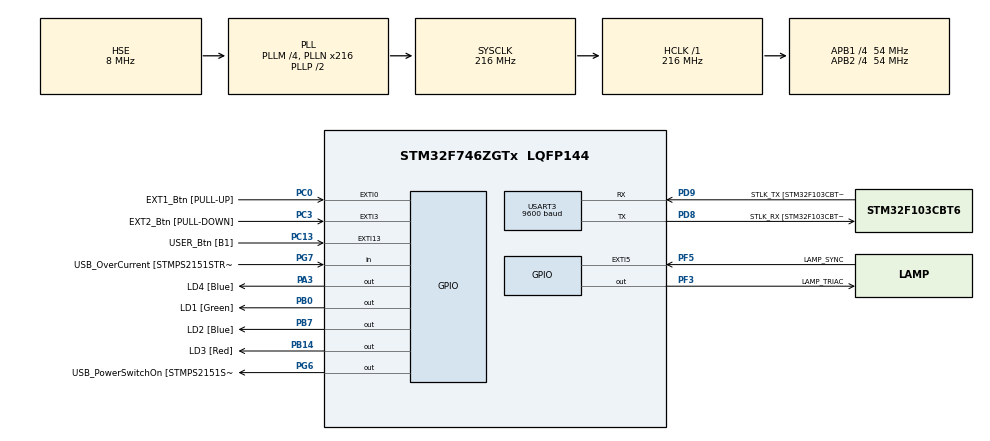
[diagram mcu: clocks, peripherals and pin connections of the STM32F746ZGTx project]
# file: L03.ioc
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Mcu.Family=STM32F7
Mcu.Name=STM32F746ZGTx
Mcu.Package=LQFP144
NVIC.EXTI0_IRQn=true\:0\:0\:false\:false\:true\:true\:true\:true
NVIC.EXTI15_10_IRQn=true\:0\:0\:false\:false\:true\:true\:true\:true
NVIC.EXTI3_IRQn=true\:0\:0\:false\:false\:true\:true\:true\:true
NVIC.EXTI9_5_IRQn=true\:0\:0\:false\:false\:true\:true\:true\:true
NVIC.PriorityGroup=NVIC_PRIORITYGROUP_4
NVIC.TIM2_IRQn=true\:0\:0\:false\:false\:true\:true\:true\:true
NVIC.USART3_IRQn=true\:0\:0\:false\:false\:true\:true\:true\:true
PA1.GPIO_Label=RMII_REF_CLK [LAN8742A-CZ-TR_REFCLK0]
PA1.Signal=ETH_REF_CLK
PA10.GPIO_Label=USB_ID
PA10.Signal=USB_OTG_FS_ID
PA11.GPIO_Label=USB_DM
PA11.Signal=USB_OTG_FS_DM
PA12.GPIO_Label=USB_DP
PA12.Signal=USB_OTG_FS_DP
PA13.GPIO_Label=TMS
PA13.Mode=Serial_Wire
PA13.Signal=SYS_JTMS-SWDIO
PA14.GPIO_Label=TCK
PA14.Mode=Serial_Wire
PA14.Signal=SYS_JTCK-SWCLK
PA2.GPIO_Label=RMII_MDIO [LAN8742A-CZ-TR_MDIO]
PA2.Signal=ETH_MDIO
PA3.GPIO_Label=LD4 [Blue]
PA3.GPIO_PuPd=GPIO_PULLDOWN
PA3.Signal=GPIO_Output
PA7.GPIO_Label=RMII_CRS_DV [LAN8742A-CZ-TR_CRS_DV]
PA7.Signal=ETH_CRS_DV
PA8.GPIO_Label=USB_SOF [TP1]
PA8.Signal=USB_OTG_FS_SOF
PA9.GPIO_Label=USB_VBUS
PA9.Signal=USB_OTG_FS_VBUS
PB0.GPIO_Label=LD1 [Green]
PB0.Signal=GPIO_Output
PB13.GPIO_Label=RMII_TXD1 [LAN8742A-CZ-TR_TXD1]
PB13.Signal=ETH_TXD1
PB14.GPIO_Label=LD3 [Red]
PB14.Signal=GPIO_Output
PB3.GPIO_Label=SW0
PB3.Signal=SYS_JTDO-SWO
PB7.GPIO_Label=LD2 [Blue]
PB7.Signal=GPIO_Output
PC0.GPIO_Label=EXT1_Btn [PULL-UP]
PC0.GPIO_ModeDefaultEXTI=GPIO_MODE_IT_FALLING
PC0.GPIO_PuPd=GPIO_PULLUP
PC0.Signal=GPXTI0
PC1.GPIO_Label=RMII_MDC [LAN8742A-CZ-TR_MDC]
PC1.Signal=ETH_MDC
PC13.GPIO_Label=USER_Btn [B1]
PC13.GPIO_ModeDefaultEXTI=GPIO_MODE_IT_RISING
PC13.Signal=GPXTI13
PC14/OSC32_IN.Mode=LSE-External-Oscillator
PC14/OSC32_IN.Signal=RCC_OSC32_IN
PC15/OSC32_OUT.Mode=LSE-External-Oscillator
PC15/OSC32_OUT.Signal=RCC_OSC32_OUT
PC3.GPIO_Label=EXT2_Btn [PULL-DOWN]
PC3.GPIO_PuPd=GPIO_PULLDOWN
PC3.Signal=GPXTI3
PC4.GPIO_Label=RMII_RXD0 [LAN8742A-CZ-TR_RXD0]
PC4.Signal=ETH_RXD0
PC5.GPIO_Label=RMII_RXD1 [LAN8742A-CZ-TR_RXD1]
PC5.Signal=ETH_RXD1
PD8.GPIO_Label=STLK_RX [STM32F103CBT6_PA3]
PD8.Mode=Asynchronous
PD8.Signal=USART3_TX
PD9.GPIO_Label=STLK_TX [STM32F103CBT6_PA2]
PD9.Mode=Asynchronous
PD9.Signal=USART3_RX
PF3.GPIO_Label=LAMP_TRIAC
PF3.GPIO_Speed=GPIO_SPEED_FREQ_HIGH
PF3.Signal=GPIO_Output
PF5.GPIO_Label=LAMP_SYNC
PF5.Signal=GPXTI5
PG11.GPIO_Label=RMII_TX_EN [LAN8742A-CZ-TR_TXEN]
PG11.Signal=ETH_TX_EN
PG13.GPIO_Label=RMII_TXD0 [LAN8742A-CZ-TR_TXD0]
PG13.Signal=ETH_TXD0
PG6.GPIO_Label=USB_PowerSwitchOn [STMPS2151STR_EN]
PG6.Signal=GPIO_Output
PG7.GPIO_Label=USB_OverCurrent [STMPS2151STR_FAULT]
PG7.Signal=GPIO_Input
PH0/OSC_IN.GPIO_Label=MCO [STM32F103CBT6_PA8]
PH0/OSC_IN.Mode=HSE-External-Clock-Source
PH0/OSC_IN.Signal=RCC_OSC_IN
PH1/OSC_OUT.Mode=HSE-External-Clock-Source
PH1/OSC_OUT.Signal=RCC_OSC_OUT
ProjectManager.HeapSize=0x200
ProjectManager.StackSize=0x400
ProjectManager.TargetToolchain=STM32CubeIDE
RCC.48MHZClocksFreq_Value=24000000
RCC.AHBFreq_Value=216000000
RCC.APB1CLKDivider=RCC_HCLK_DIV4
RCC.APB1Freq_Value=54000000
RCC.APB1TimFreq_Value=108000000
RCC.APB2CLKDivider=RCC_HCLK_DIV4
RCC.APB2Freq_Value=54000000
RCC.APB2TimFreq_Value=108000000
RCC.CortexFreq_Value=216000000
RCC.HCLKFreq_Value=216000000
RCC.HSE_VALUE=8000000
RCC.HSI_VALUE=16000000
RCC.PLLM=4
RCC.PLLMUL=RCC_PLL_MUL9
RCC.PLLN=216
RCC.PLLQ=3
RCC.PLLSourceVirtual=RCC_PLLSOURCE_HSE
RCC.PRESCALERUSB=RCC_USBCLKSOURCE_PLL_DIV1_5
RCC.SYSCLKFreq_VALUE=216000000
RCC.SYSCLKSource=RCC_SYSCLKSOURCE_PLLCLK
RCC.SYSCLKSourceVirtual=RCC_SYSCLKSOURCE_PLLCLK
RCC.USART3CLockSelection=RCC_USART3CLKSOURCE_SYSCLK
RCC.USBFreq_Value=144000000
RCC.VCOOutputFreq_Value=432000000
TIM2.Period=4999
TIM2.Prescaler=107
USART3.BaudRate=9600
USART3.VirtualMode-Asynchronous=VM_ASYNC
VP_TIM2_VS_ClockSourceINT.Mode=Internal
board=NUCLEO-F746ZG

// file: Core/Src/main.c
/* USER CODE BEGIN Header */
/**
  ******************************************************************************
  * @file           : main.c
  * @brief          : Main program body
  ******************************************************************************
  * @attention
  *
  * Copyright (c) 2022 STMicroelectronics.
  * All rights reserved.
  *
  * This software is licensed under terms that can be found in the LICENSE file
  * in the root directory of this software component.
  * If no LICENSE file comes with this software, it is provided AS-IS.
  *
  ******************************************************************************
  */
/* USER CODE END Header */
#include "main.h"
#include "tim.h"
#include "usart.h"
#include "gpio.h"

/* USER CODE BEGIN Includes */
#include <stdio.h>
#include "led_config.h"
/* USER CODE END Includes */

/* USER CODE BEGIN PD */
#define TASK 2
/* USER CODE END PD */

/* USER CODE BEGIN PV */
  _Bool LD1_State;

#if TASK >= 3

  char msg[] = "000\r";
  const unsigned int TIM2_MSG_LEN = sizeof(msg)-1;

#endif

/* USER CODE END PV */

void SystemClock_Config(void);

/* USER CODE BEGIN 0 */

#if TASK >= 2 && TASK !=4

void HAL_TIM_PeriodElapsedCallback(TIM_HandleTypeDef *htim)
{
  if(htim == &htim2)
  {
    LED_GPIO_Toggle(&hld1);
    LD1_State = LED_GPIO_Read(&hld1);
  }
}

#endif

#if TASK == 4

/**
  * @brief  Period elapsed callback in non-blocking mode
  * @param  htim TIM handle
  * @retval None
  */
void HAL_TIM_PeriodElapsedCallback(TIM_HandleTypeDef *htim)
{
  if(htim == &htim2)
  {
    LED_GPIO_Off(&hld1);
    LD1_State = LED_GPIO_Read(&hld1);
    HAL_TIM_Base_Stop_IT(&htim2);
  }
}

#endif

#if TASK >= 3

/**
  * @brief  Rx Transfer completed callback.
  * @param  huart UART handle.
  * @retval None
  */
void HAL_UART_RxCpltCallback(UART_HandleTypeDef *huart)
{
  if(huart == &huart3)
  {
    unsigned int time_ms, tim3_arr;
    int status = sscanf(msg, "%d", &time_ms);
    tim3_arr = time_ms*1000 - 1;
    if(status == 1)
    {
      HAL_TIM_Base_Stop_IT(&htim2);
      __HAL_TIM_SET_COUNTER(&htim2, 0);
      __HAL_TIM_SET_AUTORELOAD(&htim2, tim3_arr);
      HAL_TIM_Base_Start_IT(&htim2);
    }
    HAL_UART_Receive_IT(huart, (uint8_t*)msg, TIM2_MSG_LEN);
  }
}

#endif

#if TASK >= 4

/**
  * @brief  EXTI line detection callbacks.
  * @param  GPIO_Pin Specifies the pins connected EXTI line
  * @retval None
  */
void HAL_GPIO_EXTI_Callback(uint16_t GPIO_Pin)
{
  if(GPIO_Pin == USER_Btn_Pin)
  {
    LED_GPIO_On(&hld1);
    LD1_State = LED_GPIO_Read(&hld1);
    HAL_TIM_Base_Start_IT(&htim2);
  }
}

#endif

/* USER CODE END 0 */

int main(void)
{

  /* MCU Configuration--------------------------------------------------------*/

  /* Reset of all peripherals, Initializes the Flash interface and the Systick. */
  HAL_Init();

  /* Configure the system clock */
  SystemClock_Config();

  /* Initialize all configured peripherals */
  MX_GPIO_Init();
  MX_USART3_UART_Init();
  MX_TIM2_Init();
  /* USER CODE BEGIN 2 */
#if TASK >= 3

  HAL_UART_Receive_IT(&huart3, (uint8_t*)msg, TIM2_MSG_LEN);

#endif

#if TASK != 1 && TASK != 4

  HAL_TIM_Base_Start_IT(&htim2);

#endif

#if TASK == 1

  HAL_TIM_Base_Start(&htim2);

#endif

  /* USER CODE END 2 */

  /* Infinite loop */
  /* USER CODE BEGIN WHILE */
  while (1)
  {

#if TASK ==1

    if(__HAL_TIM_GET_FLAG(&htim2, TIM_FLAG_UPDATE))
    {
      __HAL_TIM_CLEAR_FLAG(&htim2, TIM_FLAG_UPDATE);
      LED_GPIO_Toggle(&hld1);
      LD1_State = LED_GPIO_Read(&hld1);
    }

#endif

    /* USER CODE END WHILE */

  }
}

void SystemClock_Config(void)
{
  RCC_OscInitTypeDef RCC_OscInitStruct = {0};
  RCC_ClkInitTypeDef RCC_ClkInitStruct = {0};

  /** Configure LSE Drive Capability
  */
  HAL_PWR_EnableBkUpAccess();

  /** Configure the main internal regulator output voltage
  */
  __HAL_RCC_PWR_CLK_ENABLE();
  __HAL_PWR_VOLTAGESCALING_CONFIG(PWR_REGULATOR_VOLTAGE_SCALE1);

  /** Initializes the RCC Oscillators according to the specified parameters
  * in the RCC_OscInitTypeDef structure.
  */
  RCC_OscInitStruct.OscillatorType = RCC_OSCILLATORTYPE_HSE;
  RCC_OscInitStruct.HSEState = RCC_HSE_BYPASS;
  RCC_OscInitStruct.PLL.PLLState = RCC_PLL_ON;
  RCC_OscInitStruct.PLL.PLLSource = RCC_PLLSOURCE_HSE;
  RCC_OscInitStruct.PLL.PLLM = 4;
  RCC_OscInitStruct.PLL.PLLN = 216;
  RCC_OscInitStruct.PLL.PLLP = RCC_PLLP_DIV2;
  RCC_OscInitStruct.PLL.PLLQ = 3;
  if (HAL_RCC_OscConfig(&RCC_OscInitStruct) != HAL_OK)
  {
    Error_Handler();
  }

  /** Activate the Over-Drive mode
  */
  if (HAL_PWREx_EnableOverDrive() != HAL_OK)
  {
    Error_Handler();
  }

  /** Initializes the CPU, AHB and APB buses clocks
  */
  RCC_ClkInitStruct.ClockType = RCC_CLOCKTYPE_HCLK|RCC_CLOCKTYPE_SYSCLK
                              |RCC_CLOCKTYPE_PCLK1|RCC_CLOCKTYPE_PCLK2;
  RCC_ClkInitStruct.SYSCLKSource = RCC_SYSCLKSOURCE_PLLCLK;
  RCC_ClkInitStruct.AHBCLKDivider = RCC_SYSCLK_DIV1;
  RCC_ClkInitStruct.APB1CLKDivider = RCC_HCLK_DIV4;
  RCC_ClkInitStruct.APB2CLKDivider = RCC_HCLK_DIV4;

  if (HAL_RCC_ClockConfig(&RCC_ClkInitStruct, FLASH_LATENCY_7) != HAL_OK)
  {
    Error_Handler();
  }
}

void Error_Handler(void)
{
  __disable_irq();
  while (1)
  {
  }
}
